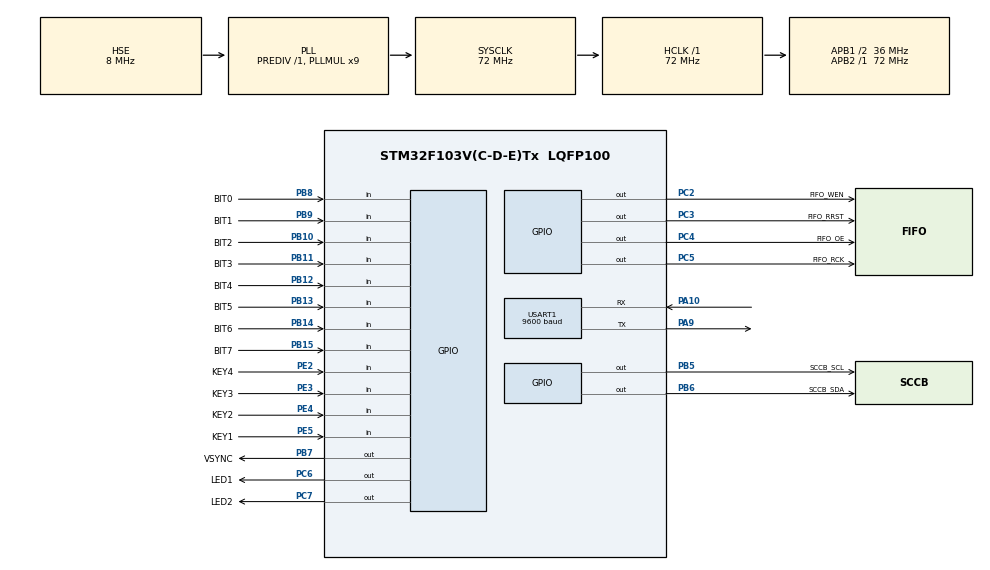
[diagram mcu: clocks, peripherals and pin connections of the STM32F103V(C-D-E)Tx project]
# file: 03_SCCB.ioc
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Mcu.Family=STM32F1
Mcu.Name=STM32F103V(C-D-E)Tx
Mcu.Package=LQFP100
NVIC.PriorityGroup=NVIC_PRIORITYGROUP_4
OSC_IN.Mode=HSE-External-Oscillator
OSC_IN.Signal=RCC_OSC_IN
OSC_OUT.Mode=HSE-External-Oscillator
OSC_OUT.Signal=RCC_OSC_OUT
PA10.Mode=Asynchronous
PA10.Signal=USART1_RX
PA9.Mode=Asynchronous
PA9.Signal=USART1_TX
PB10.GPIO_Label=BIT2
PB10.Signal=GPIO_Input
PB11.GPIO_Label=BIT3
PB11.Signal=GPIO_Input
PB12.GPIO_Label=BIT4
PB12.Signal=GPIO_Input
PB13.GPIO_Label=BIT5
PB13.Signal=GPIO_Input
PB14.GPIO_Label=BIT6
PB14.Signal=GPIO_Input
PB15.GPIO_Label=BIT7
PB15.Signal=GPIO_Input
PB5.GPIO_Label=SCCB_SCL
PB5.GPIO_PuPd=GPIO_PULLUP
PB5.GPIO_Speed=GPIO_SPEED_FREQ_HIGH
PB5.PinState=GPIO_PIN_SET
PB5.Signal=GPIO_Output
PB6.GPIO_Label=SCCB_SDA
PB6.GPIO_PuPd=GPIO_PULLUP
PB6.GPIO_Speed=GPIO_SPEED_FREQ_HIGH
PB6.PinState=GPIO_PIN_SET
PB6.Signal=GPIO_Output
PB7.GPIO_Label=VSYNC
PB7.GPIO_Speed=GPIO_SPEED_FREQ_HIGH
PB7.Signal=GPIO_Output
PB8.GPIO_Label=BIT0
PB8.Signal=GPIO_Input
PB9.GPIO_Label=BIT1
PB9.Signal=GPIO_Input
PC2.GPIO_Label=FIFO_WEN
PC2.GPIO_Speed=GPIO_SPEED_FREQ_HIGH
PC2.Signal=GPIO_Output
PC3.GPIO_Label=FIFO_RRST
PC3.Signal=GPIO_Output
PC4.GPIO_Label=FIFO_OE
PC4.GPIO_Speed=GPIO_SPEED_FREQ_HIGH
PC4.Signal=GPIO_Output
PC5.GPIO_Label=FIFO_RCK
PC5.GPIO_Speed=GPIO_SPEED_FREQ_HIGH
PC5.Signal=GPIO_Output
PC6.GPIO_Label=LED1
PC6.GPIO_Speed=GPIO_SPEED_FREQ_HIGH
PC6.Signal=GPIO_Output
PC7.GPIO_Label=LED2
PC7.GPIO_ModeDefaultOutputPP=GPIO_MODE_OUTPUT_PP
PC7.GPIO_Speed=GPIO_SPEED_FREQ_HIGH
PC7.Signal=GPIO_Output
PE2.GPIO_Label=KEY4
PE2.Signal=GPIO_Input
PE3.GPIO_Label=KEY3
PE3.Signal=GPIO_Input
PE4.GPIO_Label=KEY2
PE4.Signal=GPIO_Input
PE5.GPIO_Label=KEY1
PE5.Signal=GPIO_Input
ProjectManager.HeapSize=0x200
ProjectManager.StackSize=0x400
ProjectManager.TargetToolchain=SW4STM32
RCC.AHBFreq_Value=72000000
RCC.APB1CLKDivider=RCC_HCLK_DIV2
RCC.APB1Freq_Value=36000000
RCC.APB1TimFreq_Value=72000000
RCC.APB2Freq_Value=72000000
RCC.APB2TimFreq_Value=72000000
RCC.HCLKFreq_Value=72000000
RCC.PLLMUL=RCC_PLL_MUL9
RCC.PLLSourceVirtual=RCC_PLLSOURCE_HSE
RCC.SYSCLKFreq_VALUE=72000000
RCC.SYSCLKSource=RCC_SYSCLKSOURCE_PLLCLK
RCC.USBFreq_Value=72000000
USART1.BaudRate=9600
USART1.VirtualMode=VM_ASYNC
VP_SYS_VS_ND.Mode=No_Debug
board=custom

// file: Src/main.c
/* USER CODE BEGIN Header */
/**
  ******************************************************************************
  * @file           : main.c
  * @brief          : Main program body
  ******************************************************************************
  ** This notice applies to any and all portions of this file
  * that are not between comment pairs USER CODE BEGIN and
  * USER CODE END. Other portions of this file, whether
  * inserted by the user or by software development tools
  * are owned by their respective copyright owners.
  *
  * COPYRIGHT(c) 2018 STMicroelectronics
  *
  * Redistribution and use in source and binary forms, with or without modification,
  * are permitted provided that the following conditions are met:
  *   1. Redistributions of source code must retain the above copyright notice,
  *      this list of conditions and the following disclaimer.
  *   2. Redistributions in binary form must reproduce the above copyright notice,
  *      this list of conditions and the following disclaimer in the documentation
  *      and/or other materials provided with the distribution.
  *   3. Neither the name of STMicroelectronics nor the names of its contributors
  *      may be used to endorse or promote products derived from this software
  *      without specific prior written permission.
  *
  * THIS SOFTWARE IS PROVIDED BY THE COPYRIGHT HOLDERS AND CONTRIBUTORS "AS IS"
  * AND ANY EXPRESS OR IMPLIED WARRANTIES, INCLUDING, BUT NOT LIMITED TO, THE
  * IMPLIED WARRANTIES OF MERCHANTABILITY AND FITNESS FOR A PARTICULAR PURPOSE ARE
  * DISCLAIMED. IN NO EVENT SHALL THE COPYRIGHT HOLDER OR CONTRIBUTORS BE LIABLE
  * FOR ANY DIRECT, INDIRECT, INCIDENTAL, SPECIAL, EXEMPLARY, OR CONSEQUENTIAL
  * DAMAGES (INCLUDING, BUT NOT LIMITED TO, PROCUREMENT OF SUBSTITUTE GOODS OR
  * SERVICES; LOSS OF USE, DATA, OR PROFITS; OR BUSINESS INTERRUPTION) HOWEVER
  * CAUSED AND ON ANY THEORY OF LIABILITY, WHETHER IN CONTRACT, STRICT LIABILITY,
  * OR TORT (INCLUDING NEGLIGENCE OR OTHERWISE) ARISING IN ANY WAY OUT OF THE USE
  * OF THIS SOFTWARE, EVEN IF ADVISED OF THE POSSIBILITY OF SUCH DAMAGE.
  *
  ******************************************************************************
  */
/* USER CODE END Header */

#include "main.h"
#include "usart.h"
#include "gpio.h"

/* USER CODE BEGIN Includes */
#include "sensor.h"
/* USER CODE END Includes */

void SystemClock_Config(void);

int main(void)
{
	unsigned char rev;
	char* ret;
	char hex_display[]="0x00";
	unsigned int i;

  /* MCU Configuration--------------------------------------------------------*/

  /* Reset of all peripherals, Initializes the Flash interface and the Systick. */
  HAL_Init();

  /* Configure the system clock */
  SystemClock_Config();

  /* Initialize all configured peripherals */
  MX_GPIO_Init();
  MX_USART1_UART_Init();

  /* Infinite loop */
  /* USER CODE BEGIN WHILE */
  if(Sensor_init()==0x01)
	  {ret = "OK";}
  else
  	  {ret = "Error";}
  debugPrint(&huart1, "init:\t");
  debugPrint(&huart1, ret);
  while (1)
  {
    /* USER CODE END WHILE */
    /* USER CODE BEGIN 3 */
    if(!HAL_GPIO_ReadPin(KEY1_GPIO_Port, KEY1_Pin))
    {
      HAL_Delay(20);
      if(HAL_GPIO_ReadPin(KEY1_GPIO_Port, KEY1_Pin))
      {
	HAL_GPIO_TogglePin(LED1_GPIO_Port, LED1_Pin);
	HAL_Delay(100);
	debugPrint(&huart1, "Read sensor:\t");
//              rd_Sensor_Reg(0x0A, &rev);
	rd_Sensor_Reg(0x1C, &rev);
	i = sprintf((char*)hex_display, "0x%x", rev);
	debugPrint(&huart1, hex_display);
      }
    }
  }
  /* USER CODE END 3 */
}

void SystemClock_Config(void)
{
  RCC_OscInitTypeDef RCC_OscInitStruct = {0};
  RCC_ClkInitTypeDef RCC_ClkInitStruct = {0};

  /**Initializes the CPU, AHB and APB busses clocks
  */
  RCC_OscInitStruct.OscillatorType = RCC_OSCILLATORTYPE_HSE;
  RCC_OscInitStruct.HSEState = RCC_HSE_ON;
  RCC_OscInitStruct.HSEPredivValue = RCC_HSE_PREDIV_DIV1;
  RCC_OscInitStruct.HSIState = RCC_HSI_ON;
  RCC_OscInitStruct.PLL.PLLState = RCC_PLL_ON;
  RCC_OscInitStruct.PLL.PLLSource = RCC_PLLSOURCE_HSE;
  RCC_OscInitStruct.PLL.PLLMUL = RCC_PLL_MUL9;
  if (HAL_RCC_OscConfig(&RCC_OscInitStruct) != HAL_OK)
  {
    Error_Handler();
  }
  /**Initializes the CPU, AHB and APB busses clocks
  */
  RCC_ClkInitStruct.ClockType = RCC_CLOCKTYPE_HCLK|RCC_CLOCKTYPE_SYSCLK
                              |RCC_CLOCKTYPE_PCLK1|RCC_CLOCKTYPE_PCLK2;
  RCC_ClkInitStruct.SYSCLKSource = RCC_SYSCLKSOURCE_PLLCLK;
  RCC_ClkInitStruct.AHBCLKDivider = RCC_SYSCLK_DIV1;
  RCC_ClkInitStruct.APB1CLKDivider = RCC_HCLK_DIV2;
  RCC_ClkInitStruct.APB2CLKDivider = RCC_HCLK_DIV1;

  if (HAL_RCC_ClockConfig(&RCC_ClkInitStruct, FLASH_LATENCY_2) != HAL_OK)
  {
    Error_Handler();
  }
}

void Error_Handler(void)
{
}

/************************ (C) COPYRIGHT STMicroelectronics *****END OF FILE****/
